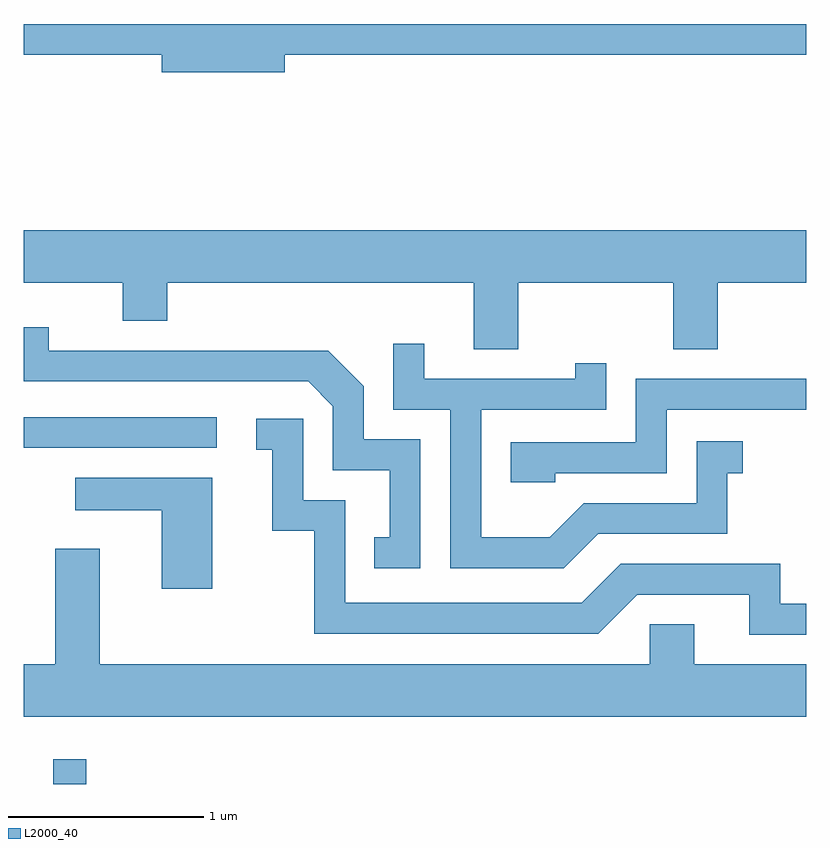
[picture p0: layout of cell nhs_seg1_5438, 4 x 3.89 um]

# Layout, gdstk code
import gdstk
lib = gdstk.Library(unit=1e-6, precision=1e-09)
def R(c, l, rs):  # rectangles x0, y0, x1, y1
    for r in rs: c.add(gdstk.rectangle(r[:2], r[2:], *l))
def P(c, l, *ps):  # polygons
    for p in ps: c.add(gdstk.Polygon(p, *l))
L2000_40 = (2000, 40)

nhs_seg1_5438 = lib.new_cell('nhs_seg1_5438')
R(nhs_seg1_5438, L2000_40, [(349.761,863.712,349.929,863.838), (349.611,865.431,350.598,865.589)])
P(nhs_seg1_5438, L2000_40, [(350.944,867.441),(353.611,867.441),(353.611,867.599),(349.611,867.599),(349.611,867.441),(350.316,867.441),(350.316,867.351),(350.944,867.351)],
  [(352.139,866.276),(352.931,866.276),(352.931,865.936),(353.159,865.936),(353.159,866.276),(353.611,866.276),(353.611,866.544),(349.611,866.544),(349.611,866.276),(350.116,866.276),(350.116,866.081),(350.344,866.081),(350.344,866.276),(351.911,866.276),(351.911,865.936),(352.139,865.936)],
  [(351.639,865.474),(351.349,865.474),(351.349,865.747),(351.167,865.929),(349.739,865.929),(349.739,866.049),(349.611,866.049),(349.611,865.771),(351.064,865.771),(351.191,865.644),(351.191,865.316),(351.481,865.316),(351.481,864.974),(351.403,864.974),(351.403,864.816),(351.639,864.816)],
  [(352.547,864.991),(353.209,864.991),(353.209,865.301),(353.288,865.301),(353.288,865.464),(353.051,865.464),(353.051,865.149),(352.474,865.149),(352.299,864.974),(351.949,864.974),(351.949,865.626),(352.589,865.626),(352.589,865.863),(352.431,865.863),(352.431,865.784),(351.659,865.784),(351.659,865.963),(351.501,865.963),(351.501,865.626),(351.791,865.626),(351.791,864.816),(352.372,864.816)],
  [(352.329,865.301),(352.899,865.301),(352.899,865.626),(353.611,865.626),(353.611,865.784),(352.741,865.784),(352.741,865.459),(352.101,865.459),(352.101,865.256),(352.329,865.256)],
  [(353.611,864.634),(353.479,864.634),(353.479,864.839),(352.664,864.839),(352.464,864.639),(351.254,864.639),(351.254,865.164),(351.039,865.164),(351.039,865.579),(350.798,865.579),(350.798,865.421),(350.881,865.421),(350.881,865.006),(351.096,865.006),(351.096,864.481),(352.547,864.481),(352.747,864.681),(353.321,864.681),(353.321,864.476),(353.611,864.476)],
  [(350.574,865.279),(349.873,865.279),(349.873,865.111),(350.316,865.111),(350.316,864.711),(350.574,864.711)],
  [(353.611,864.324),(353.039,864.324),(353.039,864.529),(352.811,864.529),(352.811,864.324),(349.999,864.324),(349.999,864.914),(349.771,864.914),(349.771,864.324),(349.611,864.324),(349.611,864.056),(353.611,864.056)])

lib.write_gds('nhs_seg1_5438.gds')
